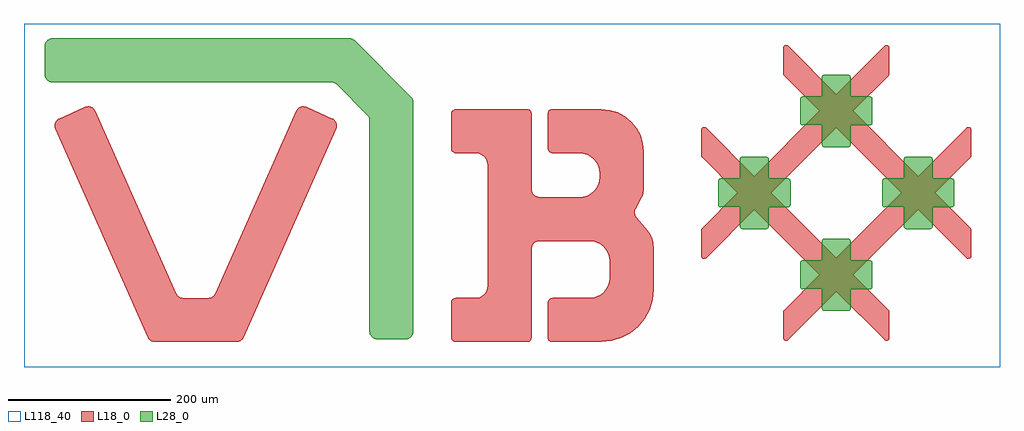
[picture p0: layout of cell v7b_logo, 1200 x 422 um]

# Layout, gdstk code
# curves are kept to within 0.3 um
import gdstk
lib = gdstk.Library(unit=1e-6, precision=1e-09)
def R(c, l, rs):  # rectangles x0, y0, x1, y1
    for r in rs: c.add(gdstk.rectangle(r[:2], r[2:], *l))
def P(c, l, *ps):  # polygons
    for p in ps: c.add(gdstk.Polygon(p, *l))
L18_0 = (18, 0)
L28_0 = (28, 0)
L118_40 = (118, 40)

v7b_logo = lib.new_cell('v7b_logo')
P(v7b_logo, L18_0, [(6466,11968.01),(6463.704,11968.467),(6461.757,11969.767),(6460.457,11971.714),(6460,11974.01),(6460,12016.01),(6461.011,12019.343),(6462.667,12020.999),(6464.829,12021.895),(6490,12022.01),(6495.74,12023.152),(6500.607,12026.403),(6502.472,12028.676),(6504.712,12034.084),(6505,12185.01),(6504.712,12187.936),(6502.472,12193.344),(6500.607,12195.617),(6495.74,12198.868),(6490,12200.01),(6464.829,12200.125),(6462.667,12201.021),(6461.011,12202.677),(6460,12206.01),(6460,12248.01),(6461.011,12251.343),(6462.667,12252.999),(6466,12254.01),(6554,12254.01),(6555.913,12253.629),(6557.536,12252.546),(6558.619,12250.923),(6559,12249.01),(6559.192,12154.059),(6560.685,12150.454),(6563.444,12147.695),(6567.049,12146.202),(6569,12146.01),(6618,12146.01),(6622.877,12146.49),(6627.567,12147.913),(6631.889,12150.223),(6635.678,12153.332),(6638.787,12157.121),(6641.097,12161.443),(6642.52,12166.133),(6643,12175.01),(6642.52,12179.887),(6641.097,12184.577),(6638.787,12188.899),(6635.678,12192.688),(6631.889,12195.797),(6627.567,12198.107),(6622.877,12199.53),(6618,12200.01),(6585,12200.01),(6581.667,12201.021),(6580.011,12202.677),(6579,12206.01),(6579,12249.01),(6579.381,12250.923),(6580.464,12252.546),(6582.087,12253.629),(6584,12254.01),(6645,12254.01),(6655.145,12253.011),(6664.9,12250.052),(6673.89,12245.246),(6681.77,12238.78),(6688.236,12230.9),(6693.042,12221.91),(6696.001,12212.155),(6697,12202.01),(6696.769,12153.9),(6696.081,12150.243),(6694.214,12144.988),(6686.618,12130.612),(6686.07,12126.216),(6686.798,12123.34),(6688.338,12120.804),(6702.047,12104.354),(6705.019,12100.082),(6707.988,12092.876),(6708.887,12087.751),(6709,12032.01),(6707.77,12019.524),(6704.128,12007.518),(6698.214,11996.454),(6690.255,11986.755),(6680.556,11978.796),(6669.492,11972.882),(6657.486,11969.24),(6645,11968.01),(6584,11968.01),(6581.222,11968.853),(6579.843,11970.232),(6579,11973.01),(6579,12016.01),(6580.011,12019.343),(6581.667,12020.999),(6585,12022.01),(6630,12022.01),(6634.877,12022.49),(6639.567,12023.913),(6643.889,12026.223),(6647.678,12029.332),(6650.787,12033.121),(6653.097,12037.443),(6654.52,12042.133),(6655,12047.01),(6655,12067.01),(6654.52,12071.887),(6653.097,12076.577),(6650.787,12080.899),(6647.678,12084.688),(6643.889,12087.797),(6639.567,12090.107),(6634.877,12091.53),(6630,12092.01),(6567.049,12091.818),(6563.444,12090.325),(6560.685,12087.566),(6559.192,12083.961),(6559,12082.01),(6559,11973.01),(6558.157,11970.232),(6556.778,11968.853),(6554,11968.01)],
  [(6871.87,11969.463),(6869.689,11970.366),(6868.543,11972.79),(6868.543,12004.72),(6868.875,12006.046),(6912.993,12050.448),(6832.985,12130.453),(6773.641,12071.11),(6772.139,12070.307),(6770.773,12070.24),(6768.473,12071.619),(6767.787,12073.534),(6767.787,12105.475),(6768.282,12107.105),(6812.237,12151.2),(6768.282,12195.295),(6767.787,12196.925),(6767.988,12229.863),(6768.934,12231.279),(6770.436,12232.082),(6772.139,12232.082),(6773.641,12231.279),(6832.98,12171.942),(6912.993,12251.95),(6869.037,12296.05),(6868.543,12297.68),(6868.543,12329.61),(6869.689,12332.034),(6871.87,12332.938),(6874.396,12332.034),(6933.736,12272.693),(6993.08,12332.035),(6994.582,12332.837),(6996.615,12332.737),(6998.248,12331.525),(6998.934,12329.61),(6998.934,12297.68),(6998.601,12296.354),(6954.481,12251.95),(7034.488,12171.942),(7093.824,12231.279),(7095.326,12232.082),(7096.692,12232.149),(7098.992,12230.77),(7099.678,12228.855),(7099.678,12196.925),(7099.183,12195.295),(7055.23,12151.2),(7099.183,12107.105),(7099.678,12105.475),(7099.477,12072.526),(7098.531,12071.11),(7097.029,12070.307),(7095.326,12070.307),(7093.824,12071.11),(7034.484,12130.453),(6975.221,12071.191),(6933.736,12071.191),(7013.742,12151.197),(6933.736,12231.206),(6853.727,12151.197),(6933.736,12071.191),(6975.221,12071.191),(6954.479,12050.45),(6998.439,12006.35),(6998.934,12004.72),(6998.833,11972.111),(6998.03,11970.609),(6996.615,11969.663),(6994.582,11969.563),(6993.08,11970.366),(6933.736,12029.707),(6874.396,11970.366)],
  [(6095.317,11968.01),(6090.839,11969.338),(6088.629,11971.102),(6087.017,11973.414),(5973.376,12230.336),(5972.798,12235.069),(5973.567,12237.843),(5975.11,12240.273),(5978.129,12242.625),(6011.292,12257.193),(6014.154,12257.546),(6016.991,12257.051),(6019.558,12255.752),(6021.646,12253.768),(6122.576,12026.491),(6125.932,12023.238),(6129.47,12021.998),(6161.898,12021.91),(6166.377,12023.238),(6168.587,12025.002),(6170.199,12027.314),(6270.11,12252.979),(6271.992,12255.159),(6275.319,12257.051),(6278.156,12257.546),(6281.017,12257.193),(6315.807,12241.601),(6317.792,12239.514),(6319.09,12236.946),(6319.585,12234.109),(6318.934,12230.336),(6204.288,11971.817),(6200.638,11968.901),(6196.992,11968.01)])
P(v7b_logo, L28_0, [(6818.525,12106.753),(6816.344,12107.657),(6815.231,12109.738),(6815.197,12133.42),(6791.858,12133.42),(6789.942,12134.105),(6788.862,12135.422),(6788.53,12136.748),(6788.731,12166.66),(6789.942,12168.295),(6791.858,12168.98),(6815.197,12168.98),(6815.197,12192.319),(6815.882,12194.235),(6817.199,12195.315),(6818.525,12195.647),(6848.437,12195.446),(6850.072,12194.235),(6850.757,12192.319),(6850.757,12168.98),(6874.108,12168.98),(6876.023,12168.295),(6877.103,12166.978),(6877.435,12165.652),(6877.234,12135.74),(6876.023,12134.105),(6874.108,12133.42),(6850.757,12133.42),(6850.757,12110.081),(6850.072,12108.165),(6848.755,12107.085),(6847.429,12106.753)],
  [(7020.036,12106.753),(7017.855,12107.657),(7016.742,12109.738),(7016.708,12133.42),(6993.369,12133.42),(6991.453,12134.105),(6990.373,12135.422),(6990.041,12136.748),(6990.242,12166.66),(6991.453,12168.295),(6993.369,12168.98),(7016.708,12168.98),(7016.708,12192.319),(7017.393,12194.235),(7018.71,12195.315),(7020.036,12195.647),(7049.948,12195.446),(7051.583,12194.235),(7052.268,12192.319),(7052.268,12168.98),(7075.607,12168.98),(7077.523,12168.295),(7078.603,12166.978),(7078.935,12165.652),(7078.734,12135.74),(7077.523,12134.105),(7075.607,12133.42),(7052.268,12133.42),(7052.268,12110.081),(7051.583,12108.165),(7050.266,12107.085),(7048.94,12106.753)],
  [(6919.28,12005.998),(6917.099,12006.901),(6915.986,12008.983),(6915.952,12032.665),(6892.613,12032.665),(6890.983,12033.159),(6889.617,12034.667),(6889.285,12035.993),(6889.486,12065.905),(6890.698,12067.54),(6892.613,12068.225),(6915.952,12068.225),(6915.952,12091.564),(6916.446,12093.194),(6917.954,12094.56),(6919.28,12094.892),(6949.192,12094.691),(6950.827,12093.479),(6951.512,12091.564),(6951.512,12068.225),(6974.852,12068.225),(6976.767,12067.54),(6977.847,12066.223),(6978.179,12064.897),(6977.978,12034.985),(6976.767,12033.35),(6974.852,12032.665),(6951.512,12032.665),(6951.512,12009.325),(6950.827,12007.41),(6949.51,12006.33),(6948.184,12005.998)],
  [(6919.28,12207.497),(6917.099,12208.401),(6915.986,12210.482),(6915.952,12234.175),(6892.613,12234.175),(6890.983,12234.669),(6889.617,12236.177),(6889.285,12237.503),(6889.486,12267.415),(6890.698,12269.05),(6892.613,12269.735),(6915.952,12269.735),(6915.952,12293.075),(6916.637,12294.99),(6917.954,12296.07),(6919.28,12296.402),(6949.192,12296.202),(6950.827,12294.99),(6951.512,12293.075),(6951.512,12269.735),(6974.852,12269.735),(6976.767,12269.05),(6977.847,12267.733),(6978.179,12266.407),(6977.978,12236.495),(6976.767,12234.861),(6974.852,12234.175),(6951.512,12234.175),(6951.512,12210.825),(6950.827,12208.909),(6949.51,12207.829),(6948.184,12207.497)],
  [(6369.081,11971.176),(6365.367,11972.107),(6362.971,11973.705),(6360.692,11976.782),(6359.761,11980.496),(6359.668,12241.593),(6358.83,12244.351),(6357.233,12246.743),(6319.277,12284.698),(6316.886,12286.295),(6313.172,12287.226),(5968.771,12287.32),(5966.017,12288.157),(5963.621,12289.755),(5961.793,12291.984),(5960.504,12295.586),(5960.411,12331.807),(5961.342,12335.521),(5962.94,12337.917),(5966.017,12340.195),(5969.731,12341.126),(6335.496,12341.126),(6339.211,12340.195),(6341.602,12338.598),(6411.133,12269.067),(6412.73,12266.676),(6413.661,12262.962),(6413.568,11979.536),(6412.73,11976.782),(6411.133,11974.386),(6408.903,11972.558),(6405.302,11971.27)])
R(v7b_logo, L118_40, [(5935,11937,7135,12359)])

lib.write_gds('v7b_logo.gds')
